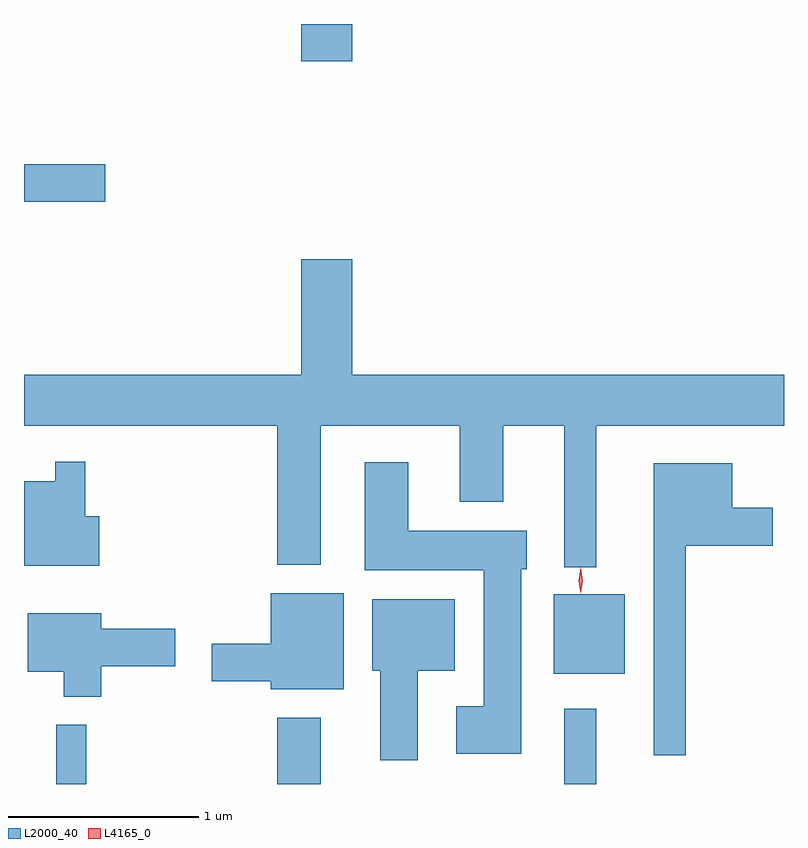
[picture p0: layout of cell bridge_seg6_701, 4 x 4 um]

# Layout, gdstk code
import gdstk
lib = gdstk.Library(unit=1e-6, precision=1e-09)
def R(c, l, rs):  # rectangles x0, y0, x1, y1
    for r in rs: c.add(gdstk.rectangle(r[:2], r[2:], *l))
def P(c, l, *ps):  # polygons
    for p in ps: c.add(gdstk.Polygon(p, *l))
L2000_40 = (2000, 40)
L4165_0 = (4165, 0)

bridge_seg6_701 = lib.new_cell('bridge_seg6_701')
R(bridge_seg6_701, L2000_40, [(433.566,1579.231,433.724,1579.543), (434.731,1579.231,434.959,1579.579), (436.241,1579.231,436.409,1579.628), (436.186,1579.811,436.559,1580.229), (433.397,1582.296,433.824,1582.494), (434.856,1583.036,435.124,1583.231)])
P(bridge_seg6_701, L2000_40, [(436.409,1581.116),(437.397,1581.116),(437.397,1581.384),(435.124,1581.384),(435.124,1581.994),(434.856,1581.994),(434.856,1581.384),(433.397,1581.384),(433.397,1581.116),(434.731,1581.116),(434.731,1580.386),(434.959,1580.386),(434.959,1581.116),(435.691,1581.116),(435.691,1580.716),(435.919,1580.716),(435.919,1581.116),(436.241,1581.116),(436.241,1580.373),(436.409,1580.373)],
  [(433.794,1580.639),(433.719,1580.639),(433.719,1580.928),(433.561,1580.928),(433.561,1580.824),(433.397,1580.824),(433.397,1580.381),(433.794,1580.381)],
  [(436.014,1580.361),(436.044,1580.361),(436.044,1580.564),(435.419,1580.564),(435.419,1580.924),(435.191,1580.924),(435.191,1580.356),(435.816,1580.356),(435.816,1579.639),(435.671,1579.639),(435.671,1579.391),(436.014,1579.391)],
  [(436.879,1580.486),(437.339,1580.486),(437.339,1580.684),(437.124,1580.684),(437.124,1580.919),(436.711,1580.919),(436.711,1579.383),(436.879,1579.383)],
  [(435.079,1580.234),(434.696,1580.234),(434.696,1579.969),(434.386,1579.969),(434.386,1579.771),(434.696,1579.771),(434.696,1579.731),(435.079,1579.731)],
  [(435.469,1579.826),(435.664,1579.826),(435.664,1580.204),(435.231,1580.204),(435.231,1579.826),(435.271,1579.826),(435.271,1579.356),(435.469,1579.356)],
  [(433.804,1579.851),(434.194,1579.851),(434.194,1580.049),(433.804,1580.049),(433.804,1580.129),(433.416,1580.129),(433.416,1579.821),(433.606,1579.821),(433.606,1579.691),(433.804,1579.691)])
P(bridge_seg6_701, L4165_0, [(436.326,1580.234),(436.317,1580.302),(436.326,1580.37),(436.327,1580.37),(436.327,1580.37),(436.337,1580.302),(436.327,1580.234),(436.327,1580.234)])

lib.write_gds('bridge_seg6_701.gds')
